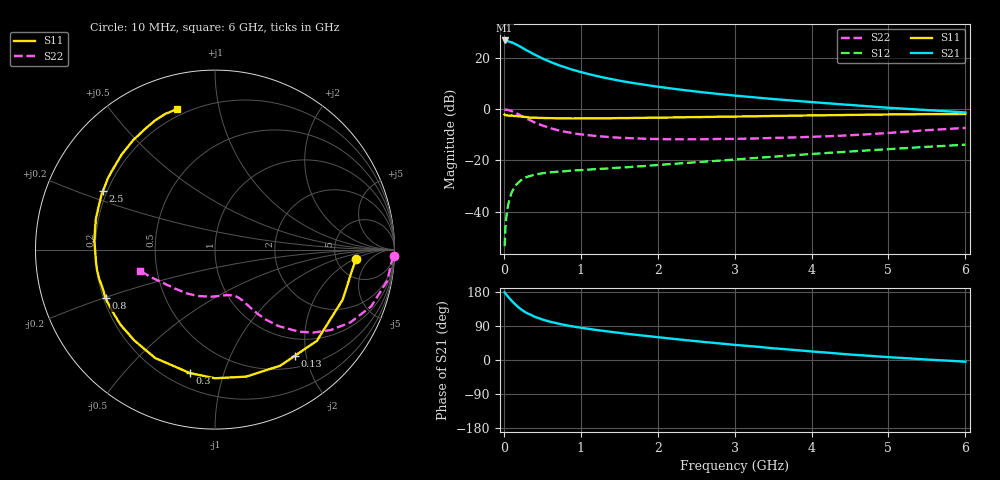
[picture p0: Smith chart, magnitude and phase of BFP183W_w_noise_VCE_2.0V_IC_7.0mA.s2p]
! Infineon Technologies  Discrete & RF Semiconductors
! BFP183W
! VCE =  2.0 V,  IC =  7.0 mA
! Common Emitter S-Parameters:  Jan 2017
# GHz  S  MA  R  50
!  f  S11  S21  S12  S22
! GHz  MAG  ANG  MAG  ANG  MAG  ANG  MAG  ANG
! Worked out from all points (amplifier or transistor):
!   77 points, 10 MHz to 6 GHz, reference 50 ohm
!   highest |S21| = 27.0 dB at 10 MHz (marker M1)
!   |S21| within 3 dB of that: start of sweep to 247.9 MHz
!   unconditionally stable (mu >= 1): 1.869 GHz to 4.496 GHz
!   at 130 MHz: K = 0.11, MSG = 28.4 dB, |S12| = -30.9 dB
!   at 2.2 GHz: K = 1.05, MAG = 13.3 dB, |S12| = -21.4 dB
!   at 6 GHz: K = 0.88, MSG = 6.3 dB, |S12| = -13.9 dB
!   lowest NFmin = 0.82 dB at 450 MHz
!   S11 on the Smith chart (normalised r, x): 10 MHz: 7.85, -2.10; 130 MHz: 0.69, -1.80; 300 MHz: 0.29, -0.78; 800 MHz: 0.21, -0.20; 2.5 GHz: 0.18, +0.24; 6 GHz: 0.16, +0.75
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0.01  0.7876 -3.7  22.27 178.7  0.0021 86.2  0.9953 -2.1
0.02  0.7697 -10.0  21.97 175.3  0.0047 97.4  0.9854 -4.2
0.05  0.764 -21.5  21.65 168.1  0.012 79.6  0.9754 -10.3
0.1  0.762 -41.9  20.53 156.5  0.0232 71.1  0.9264 -19.9
0.13  0.7402 -53.1  19.52 150.6  0.0285 64.9  0.8826 -24.7
0.15  0.7418 -60.7  18.97 146.4  0.0322 61.9  0.8571 -28.2
0.2  0.7286 -76.3  17.29 137.4  0.0381 54.8  0.7853 -34.8
0.25  0.7168 -90.0  15.7 129.9  0.0442 49.2  0.7163 -40.2
0.3  0.7022 -101.4  14.18 123.8  0.0476 45.0  0.6534 -44.4
0.4  0.69 -118.9  11.79 114.0  0.0527 39.7  0.5539 -50.3
0.5  0.6771 -131.7  9.923 106.9  0.0561 35.4  0.4827 -54.0
0.6  0.6726 -141.6  8.538 101.1  0.0585 33.5  0.4299 -56.4
0.8  0.6674 -156.0  6.61 92.1  0.0616 32.7  0.363 -59.3
0.9  0.6619 -161.4  5.911 88.5  0.0636 32.0  0.3408 -60.6
1.1  0.6672 -170.3  4.909 82.3  0.066 33.1  0.3115 -62.6
1.5  0.6737 176.3  3.645 71.7  0.0723 34.8  0.2782 -67.4
2.1  0.6896 160.8  2.65 58.1  0.0835 39.2  0.2605 -78.1
2.5  0.7046 152.2  2.232 49.7  0.0921 41.3  0.2596 -87.0
3.1  0.7249 141.2  1.802 38.3  0.107 43.0  0.2657 -101.0
4.1  0.7635 125.5  1.35 21.0  0.1368 43.1  0.2928 -125.3
5.1  0.7954 113.9  1.051 6.3  0.1698 40.4  0.3532 -149.7
6  0.8108 105.3  0.869 -4.6  0.2029 36.0  0.4325 -164.2
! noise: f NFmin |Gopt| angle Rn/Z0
0.45  0.82  0.16  68  0.11
0.9  0.91  0.21  112  0.1
1.9  1.45  0.39  172  0.07
2.4  1.71  0.45  -173  0.09
